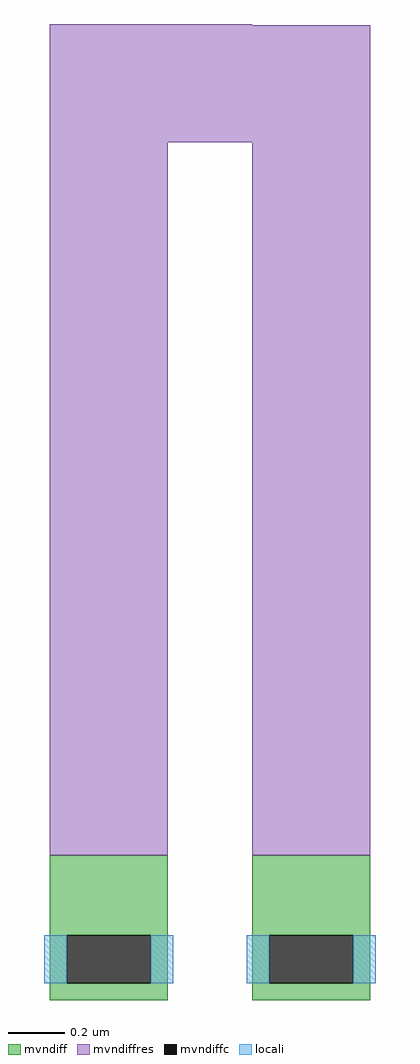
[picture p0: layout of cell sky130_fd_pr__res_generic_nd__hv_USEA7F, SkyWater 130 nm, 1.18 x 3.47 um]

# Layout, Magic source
magic
tech sky130A
magscale 1 2
<< mvndiff >>
rect -114 -300 -30 -243
rect -114 -334 -102 -300
rect -42 -334 -30 -300
rect -114 -346 -30 -334
rect 30 -300 114 -243
rect 30 -334 42 -300
rect 102 -334 114 -300
rect 30 -346 114 -334
<< mvndiffc >>
rect -102 -334 -42 -300
rect 42 -334 102 -300
<< mvndiffres >>
rect -114 347 30 348
rect -114 264 114 347
rect -114 -243 -30 264
rect 30 -243 114 264
<< locali >>
rect -118 -334 -102 -300
rect -42 -334 -26 -300
rect 26 -334 42 -300
rect 102 -334 118 -300
<< properties >>
string gencell sky130_fd_pr__res_generic_nd__hv
string library sky130
string parameters w 0.42 l 2.734 m 1 nx 2 wmin 0.42 lmin 2.10 rho 120 val 1.88k dummy 0 dw 0.02 term 0.0 sterm 0.0 caplen 0.4 snake 1 guard 0 glc 1 grc 1 gtc 1 gbc 1 roverlap 0 endcov 100 full_metal 1 vias 1 viagb 0 viagt 0 viagl 0 viagr 0
<< end >>
